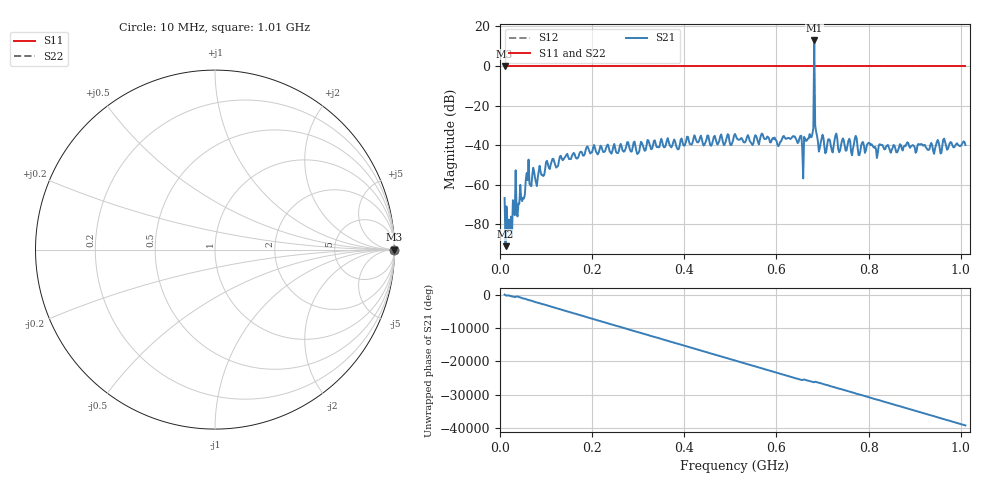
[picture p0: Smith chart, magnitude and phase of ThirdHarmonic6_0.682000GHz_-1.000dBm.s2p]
! 8/15/2025 10:45:23 PM
! C:\ANRITSUVNA\TEMP\TEMP.S2P
! CHANNEL.1
! TR.MEASUREMENT
! RAW.DATA
! RF.CORRECTION.OFF
! AVERAGING.OFF
! IF.BANDWIDTH: 5KHZ
! SWEEPTYPE:  FREQ.SWEEP(Linear)
! Reference Plane Port Info
! PORT:  PORT1  PORT2
! DISTANCE:  0  m  0  m
! TIME:  0  s  0  s
! PHASE.OFFSET:  0  deg.  0  deg.
! LOSS:  0  dB  0  dB
! REF.LOSS:  0  dB  0  dB
! REF.FREQ:  0  Hz  0  Hz
! Power Info
! POWER:  -20  dBm  -20  dBm
! EFF.POWER:  -20  dBm  -20  dBm
! SOURCE.ATTEN:  0  dB  0  dB
! TEST.ATTEN:  0  dB  0  dB
# GHZ S RI R 50.0
! FREQ.GHZ  S11RE  S11IM  S21RE  S21IM  S12RE  S12IM  S22RE  S22IM
!; PortSelection: Port_12
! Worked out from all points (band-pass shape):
!   501 points, 10 MHz to 1.01 GHz, reference 50 ohm
!   highest |S21| = 12.92 dB at 682 MHz (marker M1); lowest = -91.2 dB at 12 MHz (marker M2)
!   |S21| within 3 dB of the highest: 681.8651 MHz to 682.1398 MHz (274.7 kHz wide, 0.0403 % of centre)
!   lowest |S11| = 0.0 dB at 10 MHz (marker M3)
!   |S11| at or under -10 dB: nowhere
!   |S22| runs from 0.0 to 0.0 dB; largest |S21 - S12| = 3.9
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0.01  1 0  0.000398 0.000225  1 0  1 0
0.012  1 0  -2.31e-05 -1.52e-05  1 0  1 0
0.022  1 0  4.05e-05 -6.12e-05  1 0  1 0
0.032  1 0  0.000155 -6.54e-05  1 0  1 0
0.05  1 0  0.000293 -0.000359  1 0  1 0
0.06  1 0  -6.69e-05 -0.0013  1 0  1 0
0.08  1 0  -0.000913 5.84e-05  1 0  1 0
0.114  1 0  -0.00141 -0.00426  1 0  1 0
0.178  1 0  -0.00634 0.0014  1 0  1 0
0.344  1 0  0.00547 -0.00682  1 0  1 0
0.51  1 0  -0.000838 0.019  1 0  1 0
0.606  1 0  -0.0102 -0.000382  1 0  1 0
0.638  1 0  0.0129 -0.0102  1 0  1 0
0.66  1 0  -0.0137 0.0085  1 0  1 0
0.676  1 0  -0.0073 -0.014  1 0  1 0
0.678  1 0  -0.0188 0.00389  1 0  1 0
0.682  1 0  2.623 3.563  1 0  1 0
0.686  1 0  -0.0165 0.0147  1 0  1 0
0.688  1 0  0.01 0.0138  1 0  1 0
0.694  1 0  -0.00774 -0.00317  1 0  1 0
0.844  1 0  0.00273 -0.00817  1 0  1 0
1.01  1 0  0.000124 0.01  1 0  1 0
